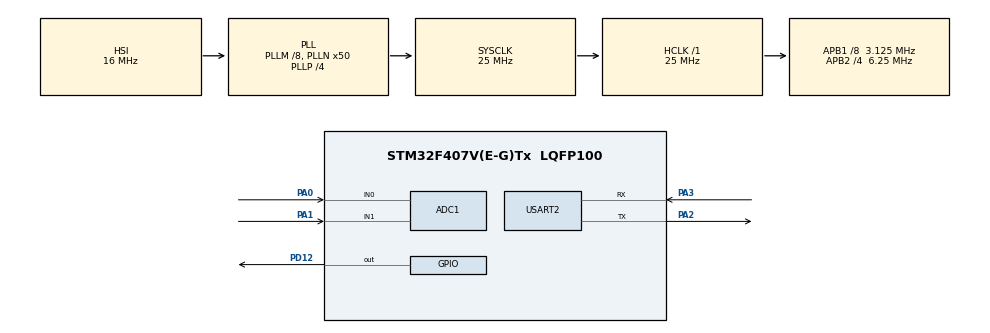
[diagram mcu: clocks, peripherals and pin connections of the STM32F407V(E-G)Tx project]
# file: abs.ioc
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ADC1.Channel-1\#ChannelRegularConversion=ADC_CHANNEL_1
ADC1.Channel-2\#ChannelRegularConversion=ADC_CHANNEL_0
ADC1.ContinuousConvMode=ENABLE
ADC1.DMAContinuousRequests=ENABLE
ADC1.EOCSelection=ADC_EOC_SINGLE_CONV
ADC1.NbrOfConversion=2
ADC1.NbrOfConversionFlag=1
ADC1.Rank-1\#ChannelRegularConversion=1
ADC1.Rank-2\#ChannelRegularConversion=2
ADC1.SamplingTime-1\#ChannelRegularConversion=ADC_SAMPLETIME_3CYCLES
ADC1.SamplingTime-2\#ChannelRegularConversion=ADC_SAMPLETIME_3CYCLES
ADC1.ScanConvMode=ENABLE
ADC1.master=1
Dma.ADC1.0.Direction=DMA_PERIPH_TO_MEMORY
Dma.ADC1.0.FIFOMode=DMA_FIFOMODE_DISABLE
Dma.ADC1.0.Instance=DMA2_Stream0
Dma.ADC1.0.MemDataAlignment=DMA_MDATAALIGN_HALFWORD
Dma.ADC1.0.MemInc=DMA_MINC_ENABLE
Dma.ADC1.0.Mode=DMA_CIRCULAR
Dma.ADC1.0.PeriphDataAlignment=DMA_PDATAALIGN_HALFWORD
Dma.ADC1.0.PeriphInc=DMA_PINC_DISABLE
Dma.ADC1.0.Priority=DMA_PRIORITY_VERY_HIGH
Dma.Request0=ADC1
Dma.Request1=USART2_RX
Dma.USART2_RX.1.Direction=DMA_PERIPH_TO_MEMORY
Dma.USART2_RX.1.FIFOMode=DMA_FIFOMODE_DISABLE
Dma.USART2_RX.1.Instance=DMA1_Stream5
Dma.USART2_RX.1.MemDataAlignment=DMA_MDATAALIGN_BYTE
Dma.USART2_RX.1.MemInc=DMA_MINC_ENABLE
Dma.USART2_RX.1.Mode=DMA_NORMAL
Dma.USART2_RX.1.PeriphDataAlignment=DMA_PDATAALIGN_BYTE
Dma.USART2_RX.1.PeriphInc=DMA_PINC_DISABLE
Dma.USART2_RX.1.Priority=DMA_PRIORITY_LOW
Mcu.Family=STM32F4
Mcu.Name=STM32F407V(E-G)Tx
Mcu.Package=LQFP100
NVIC.DMA1_Stream5_IRQn=true\:0\:0\:false\:false\:true\:false\:true
NVIC.DMA2_Stream0_IRQn=true\:0\:0\:false\:false\:true\:false\:true
NVIC.PriorityGroup=NVIC_PRIORITYGROUP_0
NVIC.TIM1_UP_TIM10_IRQn=true\:0\:0\:false\:false\:true\:true\:true
PA0-WKUP.Signal=ADCx_IN0
PA1.Signal=ADCx_IN1
PA2.Mode=Asynchronous
PA2.Signal=USART2_TX
PA3.Mode=Asynchronous
PA3.Signal=USART2_RX
PD12.GPIO_PuPd=GPIO_PULLUP
PD12.GPIO_Speed=GPIO_SPEED_FREQ_VERY_HIGH
PD12.Signal=GPIO_Output
PH0-OSC_IN.Mode=HSE-External-Oscillator
PH0-OSC_IN.Signal=RCC_OSC_IN
PH1-OSC_OUT.Mode=HSE-External-Oscillator
PH1-OSC_OUT.Signal=RCC_OSC_OUT
ProjectManager.HeapSize=0x200
ProjectManager.StackSize=0x400
ProjectManager.TargetToolchain=MDK-ARM V5.27
RCC.48MHZClocksFreq_Value=14285714.285714285
RCC.AHBFreq_Value=25000000
RCC.APB1CLKDivider=RCC_HCLK_DIV8
RCC.APB1Freq_Value=3125000
RCC.APB1TimFreq_Value=6250000
RCC.APB2CLKDivider=RCC_HCLK_DIV4
RCC.APB2Freq_Value=6250000
RCC.APB2TimFreq_Value=12500000
RCC.CortexFreq_Value=25000000
RCC.HCLKFreq_Value=25000000
RCC.HSE_VALUE=8000000
RCC.HSI_VALUE=16000000
RCC.LSE_VALUE=32768
RCC.PLLM=8
RCC.PLLN=50
RCC.PLLP=RCC_PLLP_DIV4
RCC.PLLQ=7
RCC.SYSCLKFreq_VALUE=25000000
RCC.SYSCLKSource=RCC_SYSCLKSOURCE_PLLCLK
RCC.VCOOutputFreq_Value=100000000
SH.ADCx_IN0.0=ADC1_IN0,IN0
SH.ADCx_IN1.0=ADC1_IN1,IN1
TIM1.Period=9999
TIM1.Prescaler=624
USART2.VirtualMode=VM_ASYNC
VP_TIM1_VS_ClockSourceINT.Mode=Internal
board=STM32F407G-DISC1

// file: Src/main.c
/* USER CODE BEGIN Header */
/**
  ******************************************************************************
  * @file           : main.c
  * @brief          : Main program body
  ******************************************************************************
  * @attention
  *
  * <h2><center>&copy; Copyright (c) 2019 STMicroelectronics.
  * All rights reserved.</center></h2>
  *
  * This software component is licensed by ST under BSD 3-Clause license,
  * the "License"; You may not use this file except in compliance with the
  * License. You may obtain a copy of the License at:
  *                        opensource.org/licenses/BSD-3-Clause
  *
  ******************************************************************************
  */
/* USER CODE END Header */

#include "main.h"

/* USER CODE BEGIN Includes */
#include <string.h>
/* USER CODE END Includes */

ADC_HandleTypeDef hadc1;
DMA_HandleTypeDef hdma_adc1;

TIM_HandleTypeDef htim1;

UART_HandleTypeDef huart2;
DMA_HandleTypeDef hdma_usart2_rx;

/* USER CODE BEGIN PV */

/*
OPERATION_MODE = 0 =>  SLEEP MODE

OPERATION_MODE = 1 =>  KALIBRASYON MODU

OPERATION_MODE = 2 =>  VERI TOPLAMA MODU

*/

int OPERATION_MODE = 0;
/* USER CODE END PV */

void SystemClock_Config(void);
static void MX_GPIO_Init(void);
static void MX_DMA_Init(void);
static void MX_ADC1_Init(void);
static void MX_USART2_UART_Init(void);
static void MX_TIM1_Init(void);
/* USER CODE BEGIN PFP */
void compare();
/* USER CODE BEGIN PV */
#define BUFF_SIZE 50
uint8_t convEnd = 0;			//conv end flag

uint16_t adcBuff[BUFF_SIZE] = {0};		//to store converted values
uint16_t adcData[BUFF_SIZE] = {0};
/*uint16_t*/short compareArr[BUFF_SIZE/2] = {0};
unsigned short ADCVAL[2];
long sum = 0;
void HAL_ADC_ConvCpltCallback(ADC_HandleTypeDef* hadc)
{
	unsigned char buffer[3];

	if(hadc == &hadc1 && OPERATION_MODE == 2)								//check which adc made interrupt
	{
		//convEnd = 0;
		for(int i = 0; i < BUFF_SIZE; i++)
		{
			adcData[i] = adcBuff[i];				//copy data to second buffer
			snprintf(buffer, sizeof(buffer), "%hu", adcData[i]);
			HAL_UART_Transmit(&huart2, (uint8_t *)buffer, strlen(buffer), 1000);
			HAL_UART_Transmit(&huart2, (uint8_t *)",", strlen(","), 1000);
		//	adcData[i+1] = adcBuff[i+1];				//copy data to second buffer

		//	snprintf(buffer, sizeof(buffer), "%hu", adcData[i+1]);
		//	HAL_UART_Transmit(&huart2, (uint8_t *)buffer, strlen(buffer), 1000);
	  //  HAL_UART_Transmit(&huart2, (uint8_t *)"\n", strlen("\n"), 1000);
		}
		convEnd =1;								//set conv end flag
	}
}

/**
  * adc verisi toplamayi baslatmak için kullanilan callback fonksiyonu.
	*/

void func_button(){

	if(OPERATION_MODE == 2){
		HAL_GPIO_TogglePin(GPIOD,GPIO_PIN_12);
		HAL_TIM_Base_Start_IT(&htim1);
	}
	else{
		HAL_ADC_Stop_DMA(&hadc1);
	}
}

void compare(){
	sum = 0;
	for(int i = 0,j = 0;i < BUFF_SIZE;i+=2,j++){

		int temp = adcData[i] - adcData[i+1];
		if(temp > 4095){
			sum +=  compareArr[j] = (temp - 65536);
		}
		else{
			sum +=  compareArr[j] = temp;
		}
	}
	sum /= BUFF_SIZE/2;
}
void HAL_TIM_PeriodElapsedCallback(TIM_HandleTypeDef *htim){

	if(TIM1 == htim->Instance){
		HAL_UART_Transmit(&huart2, (uint8_t *)"/", strlen("/"), 1000);
		HAL_GPIO_TogglePin(GPIOD,GPIO_PIN_12);
	}
}
void publish_UART()
{

 	unsigned char buffer[3];
  //uint16_t a= 123;
	//for(int i = 0; 0 < BUFF_SIZE;i++){

		snprintf(buffer, sizeof(buffer), "%hu", adcData[0]);
		HAL_UART_Transmit(&huart2, (uint8_t *)buffer, strlen(buffer), 1000);
	  HAL_UART_Transmit(&huart2, (uint8_t *)",", strlen(","), 1000);
//	}

}
/* USER CODE END PFP */

int main(void)
{

  /* MCU Configuration--------------------------------------------------------*/

  /* Reset of all peripherals, Initializes the Flash interface and the Systick. */
  HAL_Init();

  /* Configure the system clock */
  SystemClock_Config();

  /* Initialize all configured peripherals */
  MX_GPIO_Init();
  MX_DMA_Init();
  MX_ADC1_Init();
  MX_USART2_UART_Init();
  MX_TIM1_Init();
  /* USER CODE BEGIN 2 */
  HAL_ADC_Start_DMA(&hadc1,(uint32_t*)adcBuff,BUFF_SIZE);
  HAL_TIM_Base_Start_IT(&htim1);

	char text[30] = "mervem,";
  /* USER CODE END 2 */

  /* Infinite loop */
  /* USER CODE BEGIN WHILE */
  while (1)
  {
		//HAL_Delay(500);
		//publish_UART();
		if(convEnd == 1)					//check is conv completed
	  {

		  //compare();

		  convEnd = 0;
	  }
    /* USER CODE END WHILE */

  }
}

void SystemClock_Config(void)
{
  RCC_OscInitTypeDef RCC_OscInitStruct = {0};
  RCC_ClkInitTypeDef RCC_ClkInitStruct = {0};

  /** Configure the main internal regulator output voltage
  */
  __HAL_RCC_PWR_CLK_ENABLE();
  __HAL_PWR_VOLTAGESCALING_CONFIG(PWR_REGULATOR_VOLTAGE_SCALE1);
  /** Initializes the CPU, AHB and APB busses clocks
  */
  RCC_OscInitStruct.OscillatorType = RCC_OSCILLATORTYPE_HSI;
  RCC_OscInitStruct.HSIState = RCC_HSI_ON;
  RCC_OscInitStruct.HSICalibrationValue = RCC_HSICALIBRATION_DEFAULT;
  RCC_OscInitStruct.PLL.PLLState = RCC_PLL_ON;
  RCC_OscInitStruct.PLL.PLLSource = RCC_PLLSOURCE_HSI;
  RCC_OscInitStruct.PLL.PLLM = 8;
  RCC_OscInitStruct.PLL.PLLN = 50;
  RCC_OscInitStruct.PLL.PLLP = RCC_PLLP_DIV4;
  RCC_OscInitStruct.PLL.PLLQ = 7;
  if (HAL_RCC_OscConfig(&RCC_OscInitStruct) != HAL_OK)
  {
    Error_Handler();
  }
  /** Initializes the CPU, AHB and APB busses clocks
  */
  RCC_ClkInitStruct.ClockType = RCC_CLOCKTYPE_HCLK|RCC_CLOCKTYPE_SYSCLK
                              |RCC_CLOCKTYPE_PCLK1|RCC_CLOCKTYPE_PCLK2;
  RCC_ClkInitStruct.SYSCLKSource = RCC_SYSCLKSOURCE_PLLCLK;
  RCC_ClkInitStruct.AHBCLKDivider = RCC_SYSCLK_DIV1;
  RCC_ClkInitStruct.APB1CLKDivider = RCC_HCLK_DIV8;
  RCC_ClkInitStruct.APB2CLKDivider = RCC_HCLK_DIV4;

  if (HAL_RCC_ClockConfig(&RCC_ClkInitStruct, FLASH_LATENCY_0) != HAL_OK)
  {
    Error_Handler();
  }
}

static void MX_ADC1_Init(void)
{

  ADC_ChannelConfTypeDef sConfig = {0};

  /** Configure the global features of the ADC (Clock, Resolution, Data Alignment and number of conversion)
  */
  hadc1.Instance = ADC1;
  hadc1.Init.ClockPrescaler = ADC_CLOCK_SYNC_PCLK_DIV2;
  hadc1.Init.Resolution = ADC_RESOLUTION_12B;
  hadc1.Init.ScanConvMode = ENABLE;
  hadc1.Init.ContinuousConvMode = ENABLE;
  hadc1.Init.DiscontinuousConvMode = DISABLE;
  hadc1.Init.ExternalTrigConvEdge = ADC_EXTERNALTRIGCONVEDGE_NONE;
  hadc1.Init.ExternalTrigConv = ADC_SOFTWARE_START;
  hadc1.Init.DataAlign = ADC_DATAALIGN_RIGHT;
  hadc1.Init.NbrOfConversion = 2;
  hadc1.Init.DMAContinuousRequests = ENABLE;
  hadc1.Init.EOCSelection = ADC_EOC_SINGLE_CONV;
  if (HAL_ADC_Init(&hadc1) != HAL_OK)
  {
    Error_Handler();
  }
  /** Configure for the selected ADC regular channel its corresponding rank in the sequencer and its sample time.
  */
  sConfig.Channel = ADC_CHANNEL_1;
  sConfig.Rank = 1;
  sConfig.SamplingTime = ADC_SAMPLETIME_3CYCLES;
  if (HAL_ADC_ConfigChannel(&hadc1, &sConfig) != HAL_OK)
  {
    Error_Handler();
  }
  /** Configure for the selected ADC regular channel its corresponding rank in the sequencer and its sample time.
  */
  sConfig.Channel = ADC_CHANNEL_0;
  sConfig.Rank = 2;
  if (HAL_ADC_ConfigChannel(&hadc1, &sConfig) != HAL_OK)
  {
    Error_Handler();
  }

}

static void MX_TIM1_Init(void)
{

  TIM_ClockConfigTypeDef sClockSourceConfig = {0};
  TIM_MasterConfigTypeDef sMasterConfig = {0};

  htim1.Instance = TIM1;
  htim1.Init.Prescaler = 624;
  htim1.Init.CounterMode = TIM_COUNTERMODE_UP;
  htim1.Init.Period = 9999;
  htim1.Init.ClockDivision = TIM_CLOCKDIVISION_DIV1;
  htim1.Init.RepetitionCounter = 0;
  htim1.Init.AutoReloadPreload = TIM_AUTORELOAD_PRELOAD_DISABLE;
  if (HAL_TIM_Base_Init(&htim1) != HAL_OK)
  {
    Error_Handler();
  }
  sClockSourceConfig.ClockSource = TIM_CLOCKSOURCE_INTERNAL;
  if (HAL_TIM_ConfigClockSource(&htim1, &sClockSourceConfig) != HAL_OK)
  {
    Error_Handler();
  }
  sMasterConfig.MasterOutputTrigger = TIM_TRGO_RESET;
  sMasterConfig.MasterSlaveMode = TIM_MASTERSLAVEMODE_DISABLE;
  if (HAL_TIMEx_MasterConfigSynchronization(&htim1, &sMasterConfig) != HAL_OK)
  {
    Error_Handler();
  }

}

static void MX_USART2_UART_Init(void)
{

  huart2.Instance = USART2;
  huart2.Init.BaudRate = 115200;
  huart2.Init.WordLength = UART_WORDLENGTH_8B;
  huart2.Init.StopBits = UART_STOPBITS_1;
  huart2.Init.Parity = UART_PARITY_NONE;
  huart2.Init.Mode = UART_MODE_TX_RX;
  huart2.Init.HwFlowCtl = UART_HWCONTROL_NONE;
  huart2.Init.OverSampling = UART_OVERSAMPLING_16;
  if (HAL_UART_Init(&huart2) != HAL_OK)
  {
    Error_Handler();
  }

}

static void MX_DMA_Init(void)
{

  /* DMA controller clock enable */
  __HAL_RCC_DMA2_CLK_ENABLE();
  __HAL_RCC_DMA1_CLK_ENABLE();

  /* DMA interrupt init */
  /* DMA1_Stream5_IRQn interrupt configuration */
  HAL_NVIC_SetPriority(DMA1_Stream5_IRQn, 0, 0);
  HAL_NVIC_EnableIRQ(DMA1_Stream5_IRQn);
  /* DMA2_Stream0_IRQn interrupt configuration */
  HAL_NVIC_SetPriority(DMA2_Stream0_IRQn, 0, 0);
  HAL_NVIC_EnableIRQ(DMA2_Stream0_IRQn);

}

static void MX_GPIO_Init(void)
{
  GPIO_InitTypeDef GPIO_InitStruct = {0};

  /* GPIO Ports Clock Enable */
  __HAL_RCC_GPIOH_CLK_ENABLE();
  __HAL_RCC_GPIOA_CLK_ENABLE();
  __HAL_RCC_GPIOD_CLK_ENABLE();

  /*Configure GPIO pin Output Level */
  HAL_GPIO_WritePin(GPIOD, GPIO_PIN_12, GPIO_PIN_RESET);

  /*Configure GPIO pin : PD12 */
  GPIO_InitStruct.Pin = GPIO_PIN_12;
  GPIO_InitStruct.Mode = GPIO_MODE_OUTPUT_PP;
  GPIO_InitStruct.Pull = GPIO_PULLUP;
  GPIO_InitStruct.Speed = GPIO_SPEED_FREQ_VERY_HIGH;
  HAL_GPIO_Init(GPIOD, &GPIO_InitStruct);

}

void Error_Handler(void)
{
}

/************************ (C) COPYRIGHT STMicroelectronics *****END OF FILE****/
